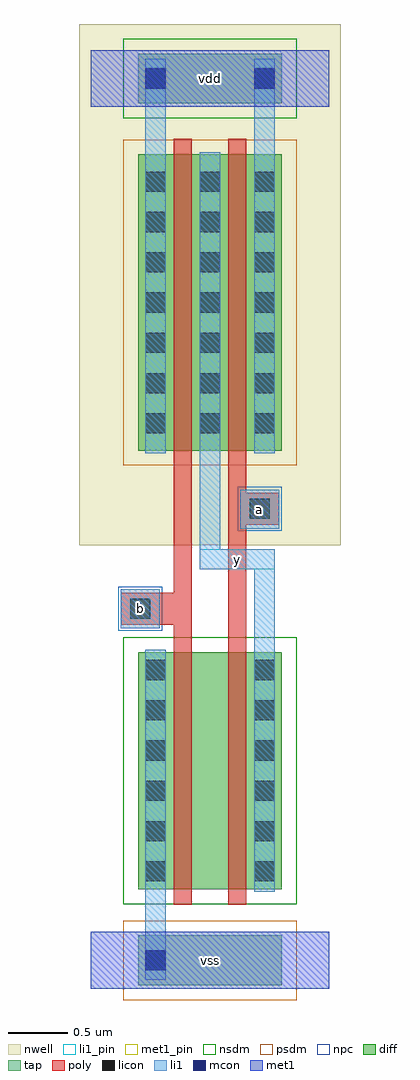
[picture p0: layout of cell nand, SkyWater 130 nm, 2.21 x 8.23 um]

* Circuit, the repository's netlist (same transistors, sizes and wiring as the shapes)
** sch_path: /cygdrive/d/hoctap/fpga/verilog_school/VLSI/lab4/xschem/nand.sch
.subckt nand a b y vdd vss
*.PININFO a:I b:I y:O vdd:B vss:B
XMPA y a vdd vdd sky130_fd_pr__pfet_01v8 L=0.15 W=2.5 nf=1 m=1
XMPB y b vdd vdd sky130_fd_pr__pfet_01v8 L=0.15 W=2.5 nf=1 m=1
XMNA y a n1 vss sky130_fd_pr__nfet_01v8 L=0.15 W=2 nf=1 m=1
XMNB n1 b vss vss sky130_fd_pr__nfet_01v8 L=0.15 W=2 nf=1 m=1
.ends

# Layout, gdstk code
import gdstk
lib = gdstk.Library(unit=1e-6, precision=1e-09)
def R(c, l, rs):  # rectangles x0, y0, x1, y1
    for r in rs: c.add(gdstk.rectangle(r[:2], r[2:], *l))
def A(c, l, x, y, w, h, nx, ny, dx, dy):  # array of equal rectangles
    R(c, l, [(x+i*dx, y+j*dy, x+i*dx+w, y+j*dy+h) for i in range(nx) for j in range(ny)])
nwell = (64, 20)
diff = (65, 20)
tap = (65, 44)
poly = (66, 20)
licon = (66, 44)
li1_pin = (67, 16)
li1 = (67, 20)
mcon = (67, 44)
met1_pin = (68, 16)
met1 = (68, 20)
nsdm = (93, 44)
psdm = (94, 20)
npc = (95, 20)

nand = lib.new_cell('nand')
R(nand, nwell, [(-0.1,3.5,2.11,7.9)])
R(nand, diff, [(0.4,0.6,1.61,2.6), (0.4,4.3,1.61,6.8)])
R(nand, tap, [(0.4,-0.21,1.61,0.21), (0.4,7.23,1.61,7.65)])
R(nand, poly, [(0.7,0.47,0.85,2.83), (1.16,0.47,1.31,3.675), (0.25,2.83,0.85,3.1), (0.7,3.1,0.85,6.93), (1.16,3.675,1.59,3.945), (1.16,3.945,1.31,6.93)])
A(nand, licon, 0.46, 0.665, 0.17, 0.17, 1, 6, 0, 0.34)
A(nand, licon, 1.38, 0.665, 0.17, 0.17, 1, 6, 0, 0.34)
A(nand, licon, 0.46, 4.445, 0.17, 0.17, 3, 7, 0.46, 0.34)
R(nand, licon, [(0.46,-0.085,0.63,0.085), (0.33,2.88,0.5,3.05), (1.34,3.725,1.51,3.895), (0.46,7.355,0.63,7.525), (1.38,7.355,1.55,7.525)])
R(nand, li1_pin, [(0.25,2.8,0.58,3.13), (0.92,3.3,1.55,3.47), (1.26,3.64,1.59,3.97)])
R(nand, li1, [(0.46,-0.165,0.63,2.62), (1.38,0.58,1.55,3.3), (0.25,2.8,0.58,3.13), (0.92,3.3,1.55,3.47), (0.92,3.47,1.09,6.82), (1.26,3.64,1.59,3.97), (0.46,4.28,0.63,7.605), (1.38,4.28,1.55,7.605)])
R(nand, mcon, [(0.46,-0.085,0.63,0.085), (0.46,7.355,0.63,7.525), (1.38,7.355,1.55,7.525)])
R(nand, met1_pin, [(0,-0.24,2.01,0.24), (0,7.2,2.01,7.68)])
R(nand, met1, [(0,-0.24,2.01,0.24), (0,7.2,2.01,7.68)])
R(nand, nsdm, [(0.275,0.475,1.735,2.725), (0.275,7.105,1.735,7.775)])
R(nand, psdm, [(0.275,-0.335,1.735,0.335), (0.275,4.175,1.735,6.925)])
R(nand, npc, [(0.23,2.78,0.6,3.15), (1.24,3.625,1.61,3.995)])
nand.add(gdstk.Label('a', (1.425,3.805), layer=67, texttype=5))
nand.add(gdstk.Label('b', (0.415,2.965), layer=67, texttype=5))
nand.add(gdstk.Label('y', (1.235,3.385), layer=67, texttype=5))
nand.add(gdstk.Label('vdd', (1.005,7.44), layer=68, texttype=5))
nand.add(gdstk.Label('vss', (1.005,0), layer=68, texttype=5))

lib.write_gds('nand.gds')
